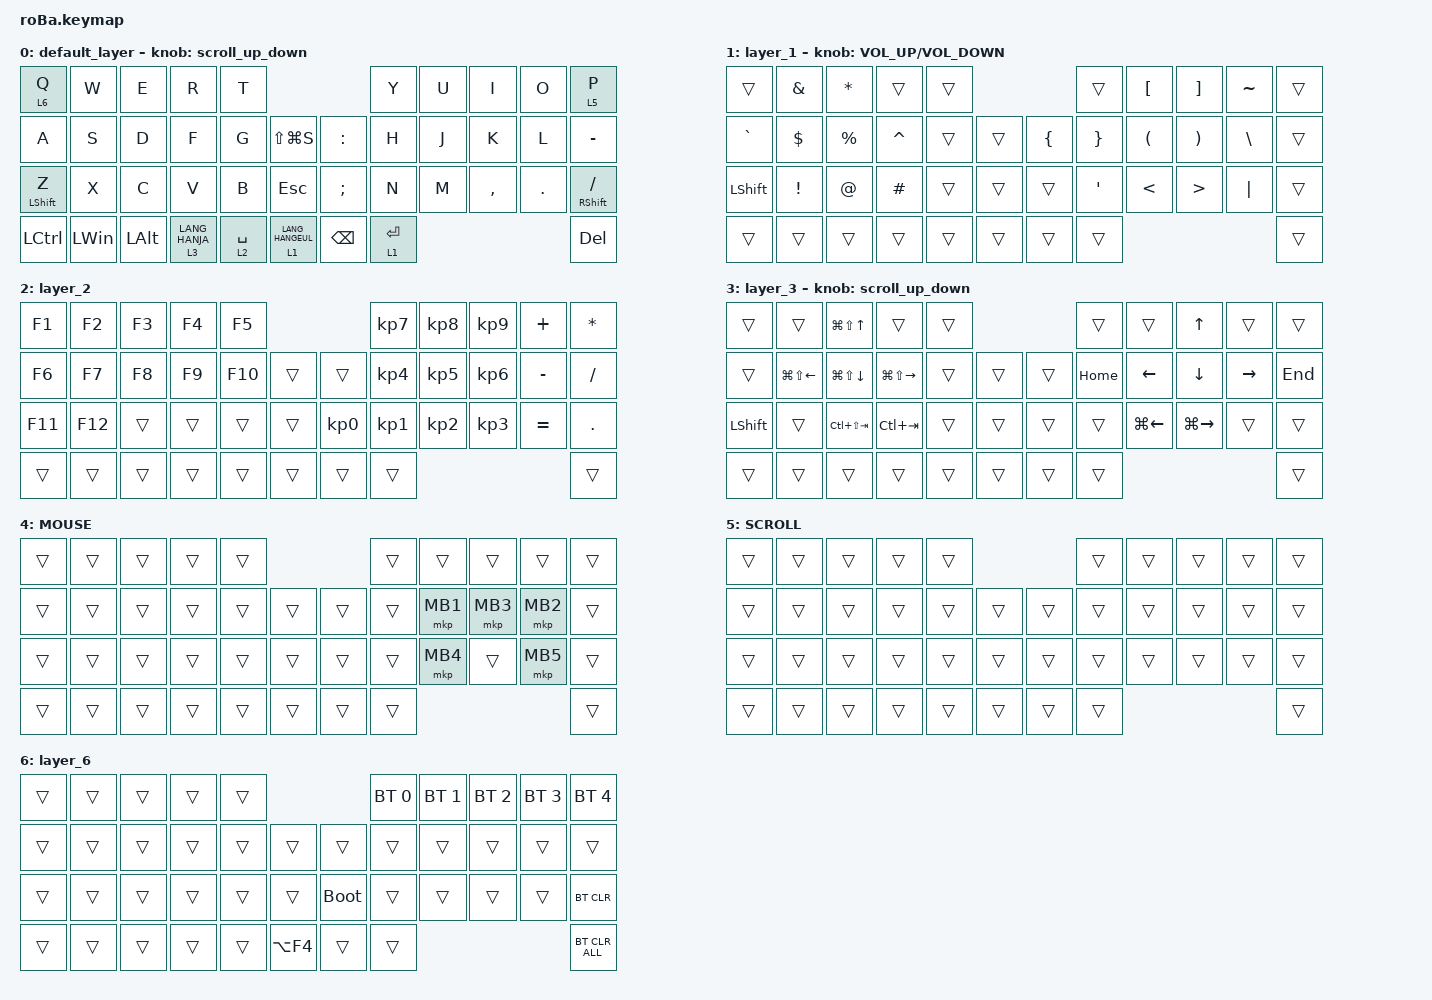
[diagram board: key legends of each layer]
#include <input/processors.dtsi>
#include <behaviors.dtsi>
#include <dt-bindings/zmk/bt.h>
#include <dt-bindings/zmk/keys.h>
#include <dt-bindings/zmk/pointing.h>

#define ZMK_POINTING_DEFAULT_SCRL_VAL 100
#define MOUSE 4

&mt {
    flavor = "balanced";
    quick-tap-ms = <0>;
};

&trackball {
    // automouse-layer = <4>;

    scroll-layers = <5>;

    // arrows {
    //     layers = <3>;
    //     bindings =
    //         <&kp RIGHT_ARROW>,
    //         <&kp LEFT_ARROW>,
    //         <&kp UP_ARROW>,
    //         <&kp DOWN_ARROW>;
    //     tick = <10>;
    //     wait-ms = <5>;
    //     tap-ms = <5>;
    // };
};

&mkp_input_listener { input-processors = <&zip_temp_layer 4 250>; };

/ {
    combos {
        compatible = "zmk,combos";

        tab {
            bindings = <&kp TAB>;
            key-positions = <11 12>;
        };

        shift_tab {
            bindings = <&kp LS(TAB)>;
            key-positions = <12 13>;
        };

        muhennkann {
            bindings = <&to_layer_0 INT_MUHENKAN>;
            key-positions = <11 10>;
        };

        double_quotation {
            bindings = <&kp DOUBLE_QUOTES>;
            key-positions = <20 21>;
        };

        eq {
            bindings = <&kp EQUAL>;
            key-positions = <24 25>;
        };
    };

    macros {
        to_layer_0: to_layer_0 {
            compatible = "zmk,behavior-macro-one-param";
            #binding-cells = <1>;
            bindings = <&to 0 &macro_param_1to1 &kp MACRO_PLACEHOLDER>;
            label = "TO_LAYER_0";
        };

        exit_AML: exit_AML {
            compatible = "zmk,behavior-macro";
            wait-ms = <0>;
            tap-ms = <0>;
            #binding-cells = <0>;
            bindings = <&tog_off 4>;
            label = "exit_AML";
        };

        kp_exit_AML: kp_exit_AML {
            compatible = "zmk,behavior-macro-one-param";
            wait-ms = <0>;
            tap-ms = <0>;
            #binding-cells = <1>;
            bindings = <&macro_param_1to1 &kp MACRO_PLACEHOLDER &exit_AML>;
            label = "KP_exit_AML";
        };
    };

    behaviors {
        lt_to_layer_0: lt_to_layer_0 {
            compatible = "zmk,behavior-hold-tap";
            label = "LAYER_TAP_TO_0";
            bindings = <&mo>, <&to_layer_0>;

            #binding-cells = <2>;
            tapping-term-ms = <200>;
        };

        scroll_up_down: behavior_sensor_rotate_mouse_wheel_up_down {
            compatible = "zmk,behavior-sensor-rotate";
            #sensor-binding-cells = <0>;
            bindings = <&msc SCRL_DOWN>, <&msc SCRL_UP>;
 // 追加: スクロールのタップ時間を設定 (20ms)
            tap-ms = <20>;
        };

        tog_off: toggle_layer_off {
            compatible = "zmk,behavior-toggle-layer";
            #binding-cells = <1>;
            display-name = "Toggle Layer Off";
            toggle-mode = "off";
        };

        mt_exit_AML_on_tap: mt_exit_AML_on_tap {
            compatible = "zmk,behavior-hold-tap";
            label = "MT_exit_AML_ON_TAP";
            bindings = <&kp>, <&kp_exit_AML>;

            #binding-cells = <2>;
            tapping-term-ms = <200>;
            flavor = "balanced";
            quick-tap-ms = <200>;
        };
    };

    keymap {
        compatible = "zmk,keymap";

        default_layer {
            bindings = <
&lt 6 Q           &kp W         &kp E         &kp R             &kp T                                               &kp Y        &kp U  &kp I      &kp O    &lt 5 P
&kp A             &kp S         &kp D         &kp F             &kp G        &kp LS(LG(S))           &kp COLON      &kp H        &kp J  &kp K      &kp L    &kp MINUS
&mt LEFT_SHIFT Z  &kp X         &kp C         &kp V             &kp B        &kp ESCAPE              &kp SEMI       &kp N        &kp M  &kp COMMA  &kp DOT  &mt RIGHT_SHIFT SLASH
&kp LCTRL         &kp LEFT_WIN  &kp LEFT_ALT  &lt 3 LANG_HANJA  &lt 2 SPACE  &lt 1 LANG_HANGEUL      &kp BACKSPACE  &lt 1 ENTER                             &kp DEL
            >;

            sensor-bindings = <&scroll_up_down>;
        };

        layer_1 {
            bindings = <
&trans          &kp AMPERSAND    &kp ASTRK    &trans     &trans                              &trans            &kp LEFT_BRACKET      &kp RIGHT_BRACKET      &kp TILDE      &trans
&kp GRAVE       &kp DOLLAR       &kp PERCENT  &kp CARET  &trans  &trans      &kp LEFT_BRACE  &kp RIGHT_BRACE   &kp LEFT_PARENTHESIS  &kp RIGHT_PARENTHESIS  &kp BACKSLASH  &trans
&kp LEFT_SHIFT  &kp EXCLAMATION  &kp AT_SIGN  &kp HASH   &trans  &trans      &trans          &kp SINGLE_QUOTE  &kp LESS_THAN         &kp GREATER_THAN       &kp PIPE       &trans
&trans          &trans           &trans       &trans     &trans  &trans      &trans          &trans                                                                        &trans
            >;

            sensor-bindings = <&inc_dec_kp C_VOLUME_UP C_VOLUME_DOWN>;
        };

        layer_2 {
            bindings = <
&kp F1   &kp F2   &kp F3  &kp F4  &kp F5                                &kp KP_NUMBER_7  &kp KP_NUMBER_8  &kp KP_NUMBER_9  &kp PLUS   &kp ASTERISK
&kp F6   &kp F7   &kp F8  &kp F9  &kp F10  &trans      &trans           &kp KP_NUMBER_4  &kp KP_NUMBER_5  &kp KP_NUMBER_6  &kp MINUS  &kp SLASH
&kp F11  &kp F12  &trans  &trans  &trans   &trans      &kp KP_NUMBER_0  &kp KP_NUMBER_1  &kp KP_NUMBER_2  &kp KP_NUMBER_3  &kp EQUAL  &kp DOT
&trans   &trans   &trans  &trans  &trans   &trans      &trans           &trans                                                        &trans
            >;
        };

        layer_3 {
            bindings = <
&trans          &trans                  &kp LG(LS(UP_ARROW))    &trans                   &trans                      &trans    &trans              &kp UP_ARROW         &trans           &trans
&trans          &kp LG(LS(LEFT_ARROW))  &kp LG(LS(DOWN_ARROW))  &kp LG(LS(RIGHT_ARROW))  &trans  &trans      &trans  &kp HOME  &kp LEFT_ARROW      &kp DOWN_ARROW       &kp RIGHT_ARROW  &kp END
&kp LEFT_SHIFT  &trans                  &kp LC(LS(TAB))         &kp LC(TAB)              &trans  &trans      &trans  &trans    &kp LG(LEFT_ARROW)  &kp LG(RIGHT_ARROW)  &trans           &trans
&trans          &trans                  &trans                  &trans                   &trans  &trans      &trans  &trans                                                              &trans
            >;

            sensor-bindings = <&scroll_up_down>;
        };

        MOUSE {
            bindings = <
&trans  &trans  &trans  &trans  &trans                      &trans  &trans    &trans    &trans    &trans
&trans  &trans  &trans  &trans  &trans  &trans      &trans  &trans  &mkp MB1  &mkp MB3  &mkp MB2  &trans
&trans  &trans  &trans  &trans  &trans  &trans      &trans  &trans  &mkp MB4  &trans    &mkp MB5  &trans
&trans  &trans  &trans  &trans  &trans  &trans      &trans  &trans                                &trans
            >;
        };

        SCROLL {
            bindings = <
&trans  &trans  &trans  &trans  &trans                      &trans  &trans  &trans  &trans  &trans
&trans  &trans  &trans  &trans  &trans  &trans      &trans  &trans  &trans  &trans  &trans  &trans
&trans  &trans  &trans  &trans  &trans  &trans      &trans  &trans  &trans  &trans  &trans  &trans
&trans  &trans  &trans  &trans  &trans  &trans      &trans  &trans                          &trans
            >;
        };

        layer_6 {
            bindings = <
&trans  &trans  &trans  &trans  &trans                               &bt BT_SEL 0  &bt BT_SEL 1  &bt BT_SEL 2  &bt BT_SEL 3  &bt BT_SEL 4
&trans  &trans  &trans  &trans  &trans  &trans          &trans       &trans        &trans        &trans        &trans        &trans
&trans  &trans  &trans  &trans  &trans  &trans          &bootloader  &trans        &trans        &trans        &trans        &bt BT_CLR
&trans  &trans  &trans  &trans  &trans  &kp LA(F4)      &trans       &trans                                                  &bt BT_CLR_ALL
            >;
        };
    };
};
